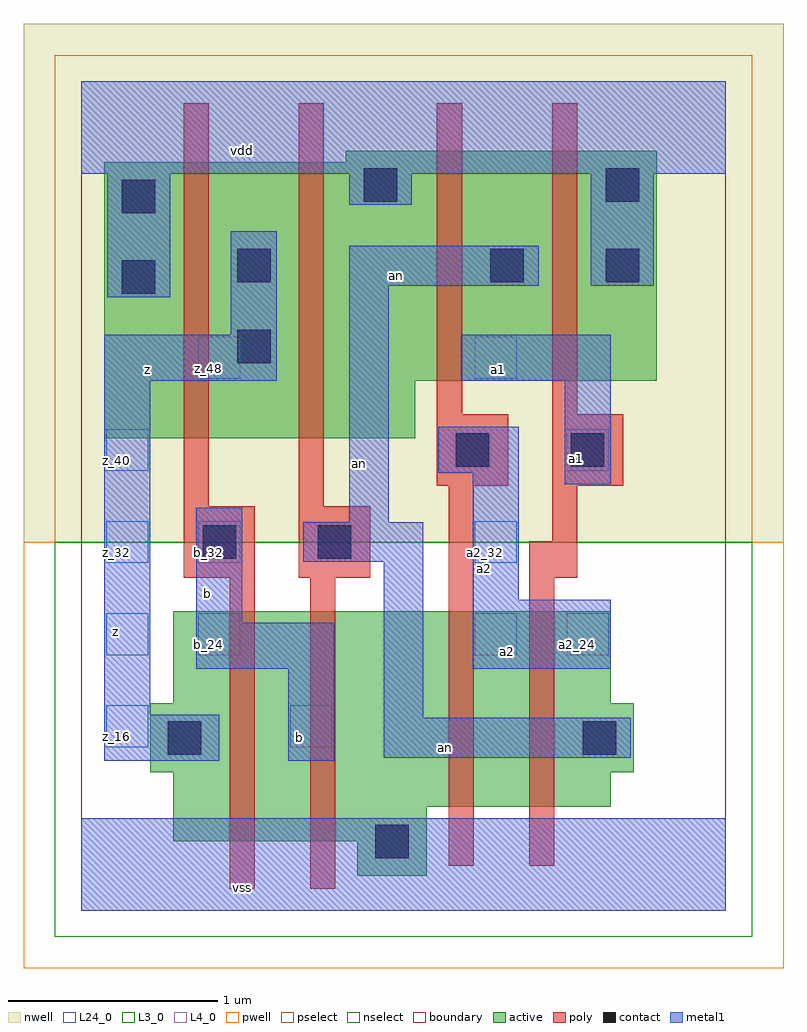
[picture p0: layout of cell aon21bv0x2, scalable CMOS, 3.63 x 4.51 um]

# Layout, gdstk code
import gdstk
lib = gdstk.Library(unit=1e-6, precision=2.5e-09)
def R(c, l, rs):  # rectangles x0, y0, x1, y1
    for r in rs: c.add(gdstk.rectangle(r[:2], r[2:], *l))
def A(c, l, x, y, w, h, nx, ny, dx, dy):  # array of equal rectangles
    R(c, l, [(x+i*dx, y+j*dy, x+i*dx+w, y+j*dy+h) for i in range(nx) for j in range(ny)])
L3_0 = (3, 0)
L4_0 = (4, 0)
L24_0 = (24, 0)
contact = (25, 0)
pwell = (41, 0)
nwell = (42, 0)
active = (43, 0)
pselect = (44, 0)
nselect = (45, 0)
poly = (46, 0)
metal1 = (49, 0)
boundary = (63, 0)

aon21bv0x2 = lib.new_cell('aon21bv0x2')
R(aon21bv0x2, L3_0, [(1.32,0.165,1.65,0.33), (0.44,0.33,1.65,0.495), (0.44,0.495,2.53,0.66), (0.33,0.66,2.64,0.99), (0.44,0.99,2.53,1.43)])
R(aon21bv0x2, L4_0, [(0.11,2.255,1.595,2.53), (0.11,2.53,2.75,3.575), (1.265,3.575,2.75,3.63)])
A(aon21bv0x2, L24_0, 0.12, 0.78, 0.2, 0.2, 1, 4, 0, 0.44)
R(aon21bv0x2, L24_0, [(1,0.78,1.2,0.98), (0.56,1.22,0.76,1.42), (1.88,1.22,2.08,1.42), (2.32,1.22,2.52,1.42), (0.56,1.66,0.76,1.86), (1.88,1.66,2.08,1.86), (2.32,2.1,2.52,2.3), (0.56,2.54,0.76,2.74), (1.88,2.54,2.08,2.74)])
R(aon21bv0x2, contact, [(1.405,0.25,1.565,0.41), (0.415,0.745,0.575,0.905), (2.395,0.745,2.555,0.905), (0.58,1.68,0.74,1.84), (1.13,1.68,1.29,1.84), (1.79,2.12,1.95,2.28), (2.34,2.12,2.5,2.28), (0.745,2.615,0.905,2.775), (0.195,2.945,0.355,3.105), (0.745,3,0.905,3.16), (1.955,3,2.115,3.16), (2.505,3,2.665,3.16), (0.195,3.33,0.355,3.49), (1.35,3.385,1.51,3.545), (2.505,3.385,2.665,3.545)])
R(aon21bv0x2, pwell, [(-0.275,-0.275,3.355,1.76)])
R(aon21bv0x2, nwell, [(-0.275,1.76,3.355,4.235)])
R(aon21bv0x2, active, [(1.32,0.165,1.65,0.33), (0.44,0.33,1.65,0.495), (0.44,0.495,2.53,0.66), (0.33,0.66,2.64,0.99), (0.44,0.99,2.53,1.43), (0.11,2.255,1.595,2.53), (0.11,2.53,2.75,3.575), (1.265,3.575,2.75,3.63)])
R(aon21bv0x2, pselect, [(-0.125,1.76,3.205,4.085)])
R(aon21bv0x2, nselect, [(-0.125,-0.125,3.205,1.76)])
R(aon21bv0x2, poly, [(0.71,0.105,0.83,1.59), (1.095,0.105,1.215,1.59), (1.755,0.215,1.875,2.03), (2.14,0.215,2.26,1.59), (0.49,1.59,0.83,1.93), (1.04,1.59,1.38,1.93), (2.14,1.59,2.37,1.765), (2.25,1.765,2.37,2.03), (0.49,1.93,0.61,3.855), (1.04,1.93,1.16,3.855), (1.7,2.03,2.04,2.37), (2.25,2.03,2.59,2.37), (1.7,2.37,1.82,3.855), (2.25,2.37,2.37,3.855)])
R(aon21bv0x2, metal1, [(0,0,3.08,0.44), (0.11,0.715,0.66,0.935), (0.99,0.715,1.21,1.155), (1.445,0.73,2.625,0.92), (1.445,0.92,1.635,1.665), (0.11,0.935,0.33,2.53), (0.55,1.155,1.21,1.375), (1.87,1.155,2.53,1.485), (0.55,1.375,0.77,1.925), (1.87,1.485,2.09,2.09), (1.06,1.665,1.635,1.855), (1.28,1.855,1.47,2.985), (2.31,2.035,2.53,2.53), (1.705,2.09,2.09,2.31), (0.11,2.53,0.935,2.75), (1.815,2.53,2.53,2.75), (0.715,2.75,0.935,3.245), (0.125,2.93,0.425,3.52), (1.28,2.985,2.185,3.175), (2.435,2.985,2.735,3.52), (1.28,3.37,1.58,3.52), (0,3.52,3.08,3.96)])
R(aon21bv0x2, boundary, [(0,0,3.08,3.96)])
aon21bv0x2.add(gdstk.Label('vss', (0.77,0.11), layer=49, texttype=0))
aon21bv0x2.add(gdstk.Label('an', (1.74,0.7775), layer=49, texttype=0))
aon21bv0x2.add(gdstk.Label('a2', (2.035,1.2375), layer=49, texttype=0))
aon21bv0x2.add(gdstk.Label('a1', (2.365,2.1575), layer=49, texttype=0))
aon21bv0x2.add(gdstk.Label('a2', (1.925,1.635), layer=49, texttype=0))
aon21bv0x2.add(gdstk.Label('b', (1.045,0.825), layer=49, texttype=0))
aon21bv0x2.add(gdstk.Label('a1', (1.9925,2.585), layer=49, texttype=0))
aon21bv0x2.add(gdstk.Label('an', (1.3275,2.1375), layer=49, texttype=0))
aon21bv0x2.add(gdstk.Label('b', (0.605,1.5125), layer=49, texttype=0))
aon21bv0x2.add(gdstk.Label('z', (0.165,1.3325), layer=49, texttype=0))
aon21bv0x2.add(gdstk.Label('an', (1.505,3.0325), layer=49, texttype=0))
aon21bv0x2.add(gdstk.Label('z', (0.315,2.585), layer=49, texttype=0))
aon21bv0x2.add(gdstk.Label('vdd', (0.77,3.63), layer=49, texttype=0))
aon21bv0x2.add(gdstk.Label('b_24', (0.61,1.27), layer=24, texttype=0))
aon21bv0x2.add(gdstk.Label('b_32', (0.61,1.71), layer=24, texttype=0))
aon21bv0x2.add(gdstk.Label('z_48', (0.61,2.59), layer=24, texttype=0))
aon21bv0x2.add(gdstk.Label('b_16', (1.05,0.83), layer=24, texttype=0))
aon21bv0x2.add(gdstk.Label('a2_24', (1.93,1.27), layer=24, texttype=0))
aon21bv0x2.add(gdstk.Label('a2_32', (1.93,1.71), layer=24, texttype=0))
aon21bv0x2.add(gdstk.Label('a1_48', (1.93,2.59), layer=24, texttype=0))
aon21bv0x2.add(gdstk.Label('z_16', (0.17,0.83), layer=24, texttype=0))
aon21bv0x2.add(gdstk.Label('z_24', (0.17,1.27), layer=24, texttype=0))
aon21bv0x2.add(gdstk.Label('z_32', (0.17,1.71), layer=24, texttype=0))
aon21bv0x2.add(gdstk.Label('z_40', (0.17,2.15), layer=24, texttype=0))
aon21bv0x2.add(gdstk.Label('a2_24', (2.37,1.27), layer=24, texttype=0))
aon21bv0x2.add(gdstk.Label('a1_40', (2.37,2.15), layer=24, texttype=0))

lib.write_gds('aon21bv0x2.gds')
